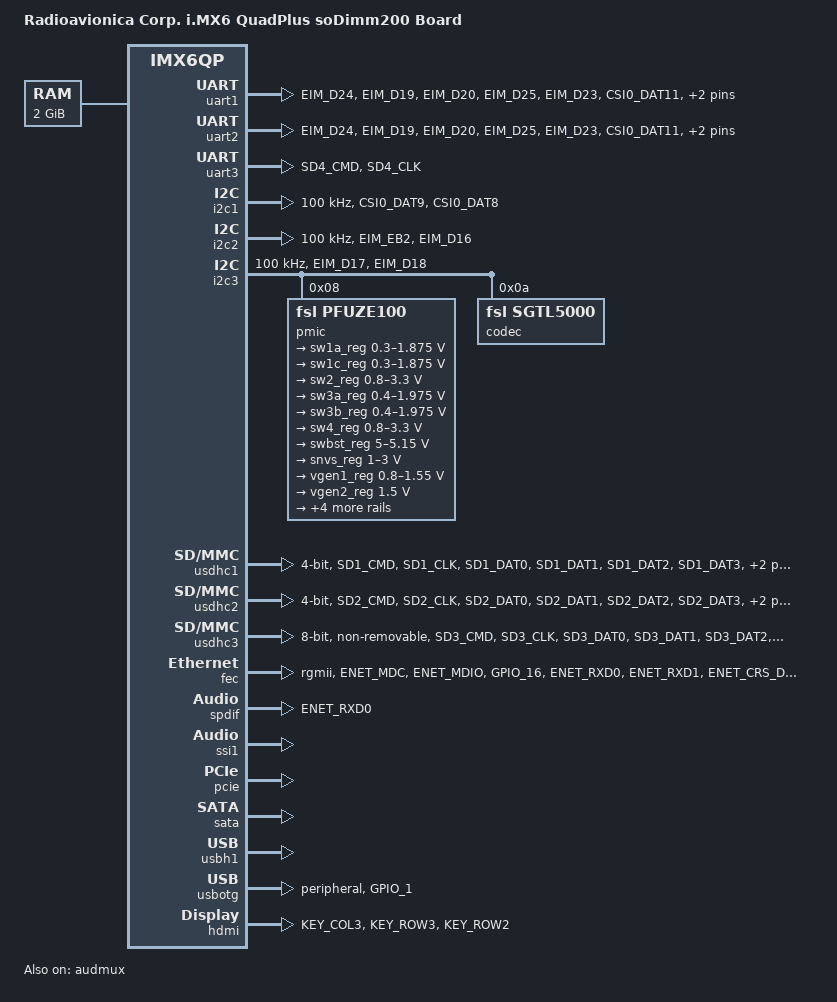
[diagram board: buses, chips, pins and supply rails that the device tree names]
/*
 * Copyright 2018 Radioavionica Corp.
 *
 * Author: Alex A. Mihaylov <minimumlaw@rambler.ru>
 *
 * This program is free software; you can redistribute it and/or modify
 * it under the terms of the GNU General Public License version 2 as
 * published by the Free Software Foundation.
 *
 */
/dts-v1/;
#include "imx6qp.dtsi"
#include <dt-bindings/gpio/gpio.h>

/ {
	model = "Radioavionica Corp. i.MX6 QuadPlus soDimm200 Board";
	compatible = "wand,imx6qp-ravion", "fsl,imx6qp";

	memory {
		reg = <0x10000000 0x80000000>;
	};

	/*
	 * ToDo: power-off key power
	 */

	/*
	 * Sound subsystem
	 */
	sound {
		compatible = "fsl,imx6-ravion-sgtl5000",
			     "fsl,imx-audio-sgtl5000";
		model = "imx6-ravion-sgtl5000";
		ssi-controller = <&ssi1>;
		audio-codec = <&codec>;
		audio-routing =
			"MIC_IN", "Mic Jack",
			"Mic Jack", "Mic Bias",
			"Headphone Jack", "HP_OUT";
		mux-int-port = <1>;
		mux-ext-port = <3>;
	};

	sound-spdif {
		compatible = "fsl,imx-audio-spdif";
		model = "imx-spdif";
		spdif-controller = <&spdif>;
		spdif-out;
	};
};

/*
 * Serial ports
 */
&uart1 {
	pinctrl-names = "default";
	pinctrl-0 = <&pinctrl_uart1>;
	uart-has-rtscts;
	uart-has-dtrdsr;
	status = "okay";
};

&uart2 {
	pinctrl-names = "default";
	pinctrl-0 = <&pinctrl_uart1>;
	uart-has-rtscts;
	status = "okay";
};

&uart3 {
	pinctrl-names = "default";
	pinctrl-0 = <&pinctrl_uart3>;
	status = "okay";
};

/*
 * I2C Busses
 */
&i2c1 { /* Internal I2C interfcae */
	clock-frequency = <100000>;
	pinctrl-names = "default";
	pinctrl-0 = <&pinctrl_i2c1>;
	status = "okay";

	/*
	 * FixMe: PMIC and Codec mut be moved here on release edition
	 */
};

&i2c2 { /* Compatible I2C: soDimm 194, 196 */
	clock-frequency = <100000>;
	pinctrl-names = "default";
	pinctrl-0 = <&pinctrl_i2c2>;
	status = "okay";
};

&i2c3 { /* Extended I2C: soDimm 128, 130 */
	clock-frequency = <100000>;
	pinctrl-names = "default";
	pinctrl-0 = <&pinctrl_i2c3>;
	status = "okay";

	/*
	 * FixMe: Debug revision bugfix: swap internal and extended I2C hosts
	 */
	pmic: pfuze100@8 {
		compatible = "fsl,pfuze100";
		reg = <0x08>;

		regulators {
			sw1a_reg: sw1ab {
				regulator-min-microvolt = <300000>;
				regulator-max-microvolt = <1875000>;
				regulator-boot-on;
				regulator-always-on;
				regulator-ramp-delay = <6250>;
			};

			sw1c_reg: sw1c {
				regulator-min-microvolt = <300000>;
				regulator-max-microvolt = <1875000>;
				regulator-boot-on;
				regulator-always-on;
				regulator-ramp-delay = <6250>;
			};

			sw2_reg: sw2 {
				regulator-min-microvolt = <800000>;
				regulator-max-microvolt = <3300000>;
				regulator-boot-on;
				regulator-always-on;
				regulator-ramp-delay = <6250>;
			};

			sw3a_reg: sw3a {
				regulator-min-microvolt = <400000>;
				regulator-max-microvolt = <1975000>;
				regulator-boot-on;
				regulator-always-on;
			};

			sw3b_reg: sw3b {
				regulator-min-microvolt = <400000>;
				regulator-max-microvolt = <1975000>;
				regulator-boot-on;
				regulator-always-on;
			};

			sw4_reg: sw4 {
				regulator-min-microvolt = <800000>;
				regulator-max-microvolt = <3300000>;
			};

			swbst_reg: swbst {
				regulator-min-microvolt = <5000000>;
				regulator-max-microvolt = <5150000>;
			};

			snvs_reg: vsnvs {
				regulator-min-microvolt = <1000000>;
				regulator-max-microvolt = <3000000>;
				regulator-boot-on;
				regulator-always-on;
			};

			vref_reg: vrefddr {
				regulator-boot-on;
				regulator-always-on;
			};

			vgen1_reg: vgen1 {
				regulator-min-microvolt = <800000>;
				regulator-max-microvolt = <1550000>;
			};

			vgen2_reg: vgen2 {
				regulator-min-microvolt = <1500000>;
				regulator-max-microvolt = <1500000>;
				regulator-boot-on;
				regulator-always-on;
			};

			vgen3_reg: vgen3 {
				regulator-min-microvolt = <1800000>;
				regulator-max-microvolt = <3300000>;
				regulator-always-on;
			};

			vgen4_reg: vgen4 {
				regulator-min-microvolt = <1800000>;
				regulator-max-microvolt = <3300000>;
				regulator-always-on;
			};

			vgen5_reg: vgen5 {
				regulator-min-microvolt = <1800000>;
				regulator-max-microvolt = <3300000>;
				regulator-always-on;
			};

			vgen6_reg: vgen6 {
				regulator-min-microvolt = <1800000>;
				regulator-max-microvolt = <3300000>;
				regulator-always-on;
			};
		};
	};

	codec: sgtl5000@a {
		compatible = "fsl,sgtl5000";
		reg = <0x0a>;
		clocks = <&clks IMX6QDL_CLK_CKO>;
		lrclk-strength = <3>;
	};

};

/*
 * SD/MMC and eMMC controllers
 */
&usdhc1 { /* compatible */
	pinctrl-names = "default";
	pinctrl-0 = <&pinctrl_usdhc1>;
	cd-gpios = <&gpio5 20 GPIO_ACTIVE_LOW>; /* soDimm 43 */
	bus-width = <4>;
	no-1-8-v;
	status = "okay";
};

&usdhc2 { /* externed */
	pinctrl-names = "default";
	pinctrl-0 = <&pinctrl_usdhc2>;
	cd-gpios = <&gpio2 24 GPIO_ACTIVE_LOW>; /* soDimm 106 */
	bus-width = <4>;
	no-1-8-v;
	status = "okay";
};

&usdhc3 { /* eMMC */
	pinctrl-names = "default";
	pinctrl-0 = <&pinctrl_usdhc3>;
	bus-width = <8>;
	non-removable;
	status = "okay";
};

/*
 * Ethernet controller
 */
&fec {
	pinctrl-names = "default";
	pinctrl-0 = <&pinctrl_enet>;
	phy-mode = "rgmii";
	phy-reset-gpios = <&gpio6 7 GPIO_ACTIVE_LOW>;
	interrupts-extended = <&gpio6 8 IRQ_TYPE_LEVEL_HIGH>,
			      <&intc 0 119 IRQ_TYPE_LEVEL_HIGH>;
	fsl,err006687-workaround-present;
	status = "okay";
};

/*
 * Audio (digital part)
 */
&audmux {
	pinctrl-names = "default";
	pinctrl-0 = <&pinctrl_audmux>;
	status = "okay";
};

&spdif {
	pinctrl-names = "default";
	pinctrl-0 = <&pinctrl_spdif>;
	status = "okay";
};

&ssi1 {
	status = "okay";
};

/*
 * High-speed serial bus
 */
&pcie {
	status = "okay";
};

&sata {
	status = "okay";
};

&usbh1 {
	status = "okay";
};

&usbotg {
	pinctrl-names = "default";
	pinctrl-0 = <&pinctrl_usbotg>;
	disable-over-current;
	dr_mode = "peripheral";
	status = "okay";
};

/*
 * Video subsystems
 */
&hdmi {
	pinctrl-names = "default";
	pinctrl-0 = <&pinctrl_hdmi>;
	status = "okay";
};


&iomuxc {
	pinctrl-names = "default";
	pinctrl-0 = <&pinctrl_hog>;

	imx6qdl-ravion {
		/*
		 * Uart serial interfaces
		 */
		pinctrl_uart1: uart1grp {
			fsl,pins = <
				MX6QDL_PAD_EIM_D24__UART1_DTR_B		0x1b0b1
				MX6QDL_PAD_EIM_D19__UART1_CTS_B		0x1b0b1
				MX6QDL_PAD_EIM_D20__UART1_RTS_B		0x1b0b1
				MX6QDL_PAD_EIM_D25__UART1_DSR_B		0x1b0b1
				MX6QDL_PAD_EIM_D23__UART1_DCD_B		0x1b0b1
				MX6QDL_PAD_CSI0_DAT11__UART1_RX_DATA	0x1b0b1
				MX6QDL_PAD_CSI0_DAT10__UART1_TX_DATA	0x1b0b1
				MX6QDL_PAD_EIM_EB3__UART1_RI_B		0x1b0b1
			>;
		};

		pinctrl_uart2: uart2grp {
			fsl,pins = <
				MX6QDL_PAD_EIM_D28__UART2_CTS_B		0x1b0b1
				MX6QDL_PAD_EIM_D29__UART2_RTS_B		0x1b0b1
				MX6QDL_PAD_SD4_DAT4__UART2_RX_DATA	0x1b0b1
				MX6QDL_PAD_SD4_DAT7__UART2_TX_DATA	0x1b0b1
			>;
		};

		pinctrl_uart3: uart3grp {
			fsl,pins = <
				MX6QDL_PAD_SD4_CMD__UART3_TX_DATA	0x1b0b1
				MX6QDL_PAD_SD4_CLK__UART3_RX_DATA	0x1b0b1
			>;
		};

		/*
		 * I2C bus interfaces
		 */
		pinctrl_i2c1: i2c1grp { /* Internal: PMIC, codec, etc... */
			fsl,pins = <
				MX6QDL_PAD_CSI0_DAT9__I2C1_SCL		0x4001b8b1
				MX6QDL_PAD_CSI0_DAT8__I2C1_SDA		0x4001b8b1
			>;
		};

		pinctrl_i2c2: i2c2grp { /* Compatible: soDimm 194, 196 */
			fsl,pins = <
				MX6QDL_PAD_EIM_EB2__I2C2_SCL		0x4001b8b1
				MX6QDL_PAD_EIM_D16__I2C2_SDA		0x4001b8b1
			>;
		};

		pinctrl_i2c3: i2c3grp { /* Extended:  soDimm 128, 130 */
			fsl,pins = <
				MX6QDL_PAD_EIM_D17__I2C3_SCL		0x4001b8b1
				MX6QDL_PAD_EIM_D18__I2C3_SDA		0x4001b8b1
			>;
		};

		/*
		 * SD/MMC and eMMC controllers
		 */
		pinctrl_usdhc1: usdhc1grp { /* soDimm pins 43, 47, 49, 51, 53, 190, 192 - compatible */
			fsl,pins = <
				MX6QDL_PAD_SD1_CMD__SD1_CMD		0x17059
				MX6QDL_PAD_SD1_CLK__SD1_CLK		0x10059
				MX6QDL_PAD_SD1_DAT0__SD1_DATA0		0x17059
				MX6QDL_PAD_SD1_DAT1__SD1_DATA1		0x17059
				MX6QDL_PAD_SD1_DAT2__SD1_DATA2		0x17059
				MX6QDL_PAD_SD1_DAT3__SD1_DATA3		0x17059
				MX6QDL_PAD_CSI0_DATA_EN__GPIO5_IO20	0x80000000
			>;
		};

		pinctrl_usdhc2: usdhc2grp { /* soDimm pins 89, 93, 95, 99, 105, 106, 107 - extended */
			fsl,pins = <
				MX6QDL_PAD_SD2_CMD__SD2_CMD		0x17059
				MX6QDL_PAD_SD2_CLK__SD2_CLK		0x10059
				MX6QDL_PAD_SD2_DAT0__SD2_DATA0		0x17059
				MX6QDL_PAD_SD2_DAT1__SD2_DATA1		0x17059
				MX6QDL_PAD_SD2_DAT2__SD2_DATA2		0x17059
				MX6QDL_PAD_SD2_DAT3__SD2_DATA3		0x17059
				MX6QDL_PAD_EIM_CS1__GPIO2_IO24		0x80000000
			>;
		};

		pinctrl_usdhc3: usdhc3grp { /* internal eMMC card */
			fsl,pins = <
				MX6QDL_PAD_SD3_CMD__SD3_CMD		0x17059
				MX6QDL_PAD_SD3_CLK__SD3_CLK		0x10059
				MX6QDL_PAD_SD3_DAT0__SD3_DATA0		0x17059
				MX6QDL_PAD_SD3_DAT1__SD3_DATA1		0x17059
				MX6QDL_PAD_SD3_DAT2__SD3_DATA2		0x17059
				MX6QDL_PAD_SD3_DAT3__SD3_DATA3		0x17059
				MX6QDL_PAD_SD3_DAT4__SD3_DATA4		0x17059
				MX6QDL_PAD_SD3_DAT5__SD3_DATA5		0x17059
				MX6QDL_PAD_SD3_DAT6__SD3_DATA6		0x17059
				MX6QDL_PAD_SD3_DAT7__SD3_DATA7		0x17059
				MX6QDL_PAD_SD3_RST__SD3_RESET		0x17059
			>;
		};

		/*
		 * Ethernet
		 */
		pinctrl_enet: enetgrp {
			fsl,pins = <
				/* MDIO bus */
				MX6QDL_PAD_ENET_MDC__ENET_MDC		0x1b0b0
				MX6QDL_PAD_ENET_MDIO__ENET_MDIO		0x1b0b0
				/* receive */
				MX6QDL_PAD_GPIO_16__ENET_REF_CLK	0x4001b0a8
				MX6QDL_PAD_ENET_RXD0__ENET_RX_DATA0	0x1b030
				MX6QDL_PAD_ENET_RXD1__ENET_RX_DATA1	0x1b030
				MX6QDL_PAD_ENET_CRS_DV__ENET_RX_EN	0x1b030
				MX6QDL_PAD_ENET_RX_ER__ENET_RX_ER	0x1b030
				/* transmitt */
				MX6QDL_PAD_ENET_REF_CLK__ENET_TX_CLK	0x1b030
				MX6QDL_PAD_ENET_TXD0__ENET_TX_DATA0	0x1b030
				MX6QDL_PAD_ENET_TXD1__ENET_TX_DATA1	0x1b030
				MX6QDL_PAD_ENET_TX_EN__ENET_TX_EN	0x1b030
				MX6QDL_PAD_GPIO_19__ENET_TX_ER		0x1b030
				/* GPIO */
				MX6QDL_PAD_NANDF_CLE__GPIO6_IO07	/* nPHY_RESET */
				MX6QDL_PAD_NANDF_ALE__GPIO6_IO08	/* nPHY_IRQ */
			>;
		};

		/*
		 * Audio (digital part)
		 */
		pinctrl_audmux: audmuxgrp {
			fsl,pins = <
				MX6QDL_PAD_CSI0_DAT7__AUD3_RXD		0x130b0
				MX6QDL_PAD_CSI0_DAT4__AUD3_TXC		0x130b0
				MX6QDL_PAD_CSI0_DAT5__AUD3_TXD		0x110b0
				MX6QDL_PAD_CSI0_DAT6__AUD3_TXFS		0x130b0
			>;
		};

		pinctrl_spdif: spdifgrp {
			fsl,pins = <
				MX6QDL_PAD_ENET_RXD0__SPDIF_OUT		0x1b0b0
			>;
		};

		pinctrl_usbotg: usbotggrp {
			fsl,pins = <
				MX6QDL_PAD_GPIO_1__USB_OTG_ID		0x17059
			>;
		};

		pinctrl_hdmi: hdmigrp {
			fsl,pins = <
				MX6QDL_PAD_KEY_COL3__HDMI_TX_DDC_SCL	0x4001b8b1
				MX6QDL_PAD_KEY_ROW3__HDMI_TX_DDC_SDA	0x4001b8b1
				MX6QDL_PAD_KEY_ROW2__HDMI_TX_CEC_LINE	0x4001b8b1
			>;
		};


		pinctrl_hog: hoggrp {
			fsl,pins = <
				MX6QDL_PAD_GPIO_0__CCM_CLKO1     	0x130b0
				MX6QDL_PAD_EIM_D22__USB_OTG_PWR		0x80000000	/* USB Power Enable */
				MX6QDL_PAD_GPIO_2__GPIO1_IO02		0x80000000	/* USDHC1 CD */
				MX6QDL_PAD_EIM_DA9__GPIO3_IO09		0x80000000	/* uSDHC3 CD */
				MX6QDL_PAD_EIM_D29__GPIO3_IO29   	0x1f0b1		/* RGMII PHY reset */
			>;
		};

	};
};
